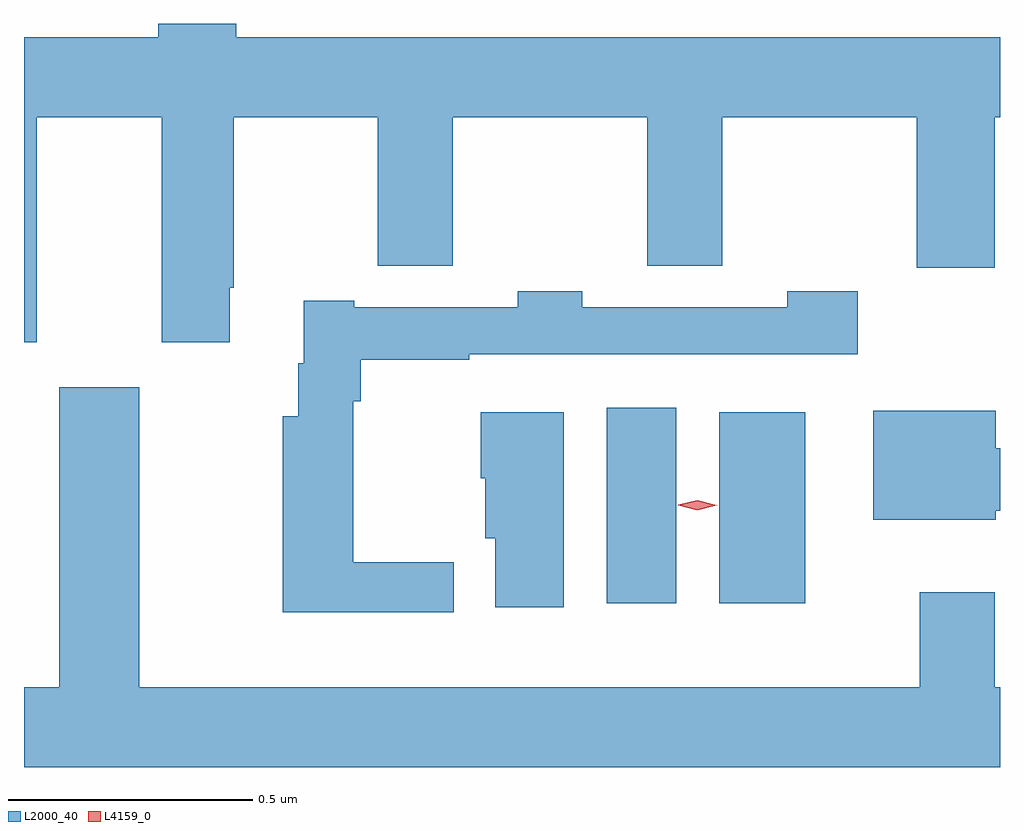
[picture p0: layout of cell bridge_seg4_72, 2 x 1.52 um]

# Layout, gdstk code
import gdstk
lib = gdstk.Library(unit=1e-6, precision=1e-09)
def R(c, l, rs):  # rectangles x0, y0, x1, y1
    for r in rs: c.add(gdstk.rectangle(r[:2], r[2:], *l))
def P(c, l, *ps):  # polygons
    for p in ps: c.add(gdstk.Polygon(p, *l))
L2000_40 = (2000, 40)
L4159_0 = (4159, 0)

bridge_seg4_72 = lib.new_cell('bridge_seg4_72')
R(bridge_seg4_72, L2000_40, [(568.949,830.456,569.092,830.857), (569.18,830.456,569.356,830.848)])
P(bridge_seg4_72, L2000_40, [(567.781,831.452),(568.037,831.452),(568.037,830.991),(568.177,830.991),(568.177,831.103),(568.185,831.103),(568.185,831.452),(568.48,831.452),(568.48,831.148),(568.634,831.148),(568.634,831.452),(569.032,831.452),(569.032,831.148),(569.186,831.148),(569.186,831.452),(569.584,831.452),(569.584,831.144),(569.744,831.144),(569.744,831.452),(569.755,831.452),(569.755,831.616),(568.19,831.616),(568.19,831.644),(568.03,831.644),(568.03,831.616),(567.755,831.616),(567.755,830.991),(567.781,830.991)],
  [(568.636,830.54),(568.43,830.54),(568.43,830.87),(568.445,830.87),(568.445,830.955),(568.667,830.955),(568.667,830.967),(569.464,830.967),(569.464,831.096),(569.319,831.096),(569.319,831.063),(568.899,831.063),(568.899,831.096),(568.767,831.096),(568.767,831.063),(568.432,831.063),(568.432,831.076),(568.328,831.076),(568.328,830.948),(568.317,830.948),(568.317,830.839),(568.285,830.839),(568.285,830.438),(568.636,830.438)],
  [(569.755,830.284),(569.744,830.284),(569.744,830.479),(569.591,830.479),(569.591,830.284),(567.991,830.284),(567.991,830.899),(567.827,830.899),(567.827,830.284),(567.755,830.284),(567.755,830.12),(569.755,830.12)],
  [(569.746,830.646),(569.755,830.646),(569.755,830.774),(569.746,830.774),(569.746,830.851),(569.495,830.851),(569.495,830.627),(569.746,830.627)],
  [(568.861,830.848),(568.691,830.848),(568.691,830.712),(568.7,830.712),(568.7,830.589),(568.721,830.589),(568.721,830.448),(568.861,830.448)])
P(bridge_seg4_72, L4159_0, [(569.135,830.647),(569.096,830.657),(569.095,830.657),(569.096,830.658),(569.135,830.667),(569.175,830.657),(569.176,830.657),(569.175,830.657)])

lib.write_gds('bridge_seg4_72.gds')
